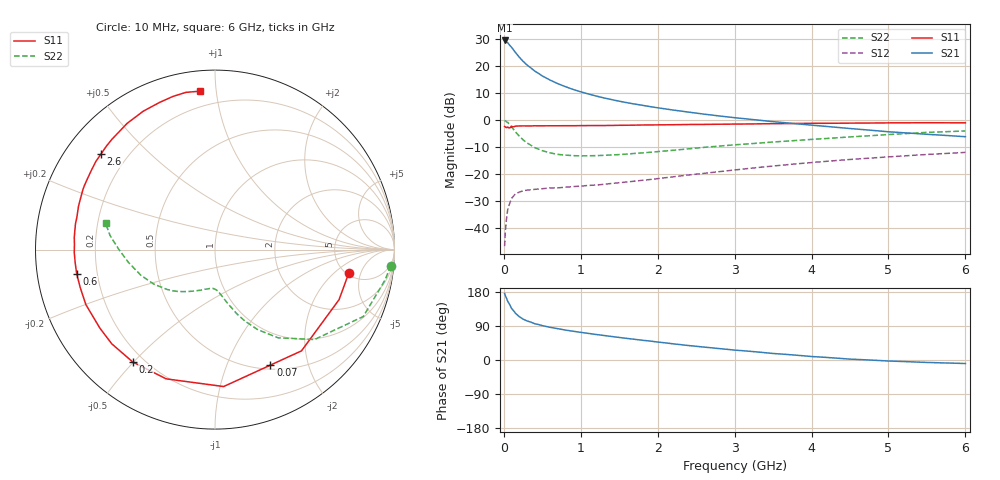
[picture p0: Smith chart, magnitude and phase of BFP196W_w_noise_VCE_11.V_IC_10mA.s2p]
! Infineon Technologies  Discrete & RF Semiconductors
! BFP196W
! VCE =  11. V,  IC =  10 mA
! Common Emitter S-Parameters:  Jan 2017
# GHz  S  MA  R  50
!  f  S11  S21  S12  S22
! GHz  MAG  ANG  MAG  ANG  MAG  ANG  MAG  ANG
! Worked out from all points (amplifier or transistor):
!   77 points, 10 MHz to 6 GHz, reference 50 ohm
!   highest |S21| = 29.5 dB at 10 MHz (marker M1)
!   |S21| within 3 dB of that: start of sweep to 112.9 MHz
!   unconditionally stable (mu >= 1): 1.266 GHz to 3.149 GHz
!   at 130 MHz: K = 0.15, MSG = 26.9 dB, |S12| = -28.0 dB
!   at 2.2 GHz: K = 1.10, MAG = 10.5 dB, |S12| = -21.1 dB
!   at 6 GHz: K = 0.87, MSG = 2.9 dB, |S12| = -12.0 dB
!   lowest NFmin = 0.91 dB at 450 MHz
!   S11 on the Smith chart (normalised r, x): 10 MHz: 5.23, -3.19; 70 MHz: 0.55, -1.44; 200 MHz: 0.16, -0.50; 600 MHz: 0.12, -0.09; 2.6 GHz: 0.11, +0.36; 6 GHz: 0.11, +0.90
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0.01  0.757 -9.9  29.78 175.5  0.0046 78.9  0.9834 -5.2
0.02  0.7453 -22.0  29.2 169.6  0.0088 83.7  0.9633 -10.0
0.05  0.742 -49.5  27.13 155.1  0.0216 65.9  0.9064 -24.3
0.07  0.7138 -64.4  24.88 148.4  0.0268 58.1  0.8334 -30.6
0.1  0.7645 -86.4  22.31 136.1  0.0353 50.9  0.7471 -42.1
0.15  0.7698 -110.7  17.92 123.5  0.0427 40.7  0.6046 -54.4
0.2  0.7759 -126.2  14.63 114.5  0.0461 35.0  0.5044 -62.0
0.25  0.7787 -137.6  12.25 107.9  0.0488 30.6  0.4301 -67.4
0.3  0.7764 -145.7  10.48 103.2  0.0502 28.3  0.3766 -71.3
0.4  0.782 -156.9  8.105 95.9  0.0519 26.3  0.3088 -76.7
0.5  0.7801 -164.3  6.552 90.7  0.0534 25.4  0.27 -80.5
0.6  0.7822 -170.0  5.504 86.3  0.0551 25.6  0.2466 -83.6
0.7  0.7823 -174.4  4.727 82.7  0.0553 26.7  0.2309 -86.1
0.8  0.7843 -178.7  4.151 79.0  0.0569 28.4  0.2236 -88.6
1.1  0.7882 172.1  3.035 70.2  0.0615 33.2  0.2178 -95.4
1.5  0.7978 162.4  2.232 59.5  0.069 39.1  0.2287 -104.8
2.1  0.815 149.3  1.606 45.2  0.0853 46.4  0.267 -119.6
2.6  0.829 139.9  1.286 34.1  0.1027 49.4  0.3114 -131.4
3.1  0.8429 131.4  1.068 24.6  0.123 49.8  0.3549 -142.5
4.1  0.8691 116.1  0.781 8.0  0.1674 46.0  0.446 -163.3
5.1  0.8856 104.4  0.593 -3.4  0.2118 39.2  0.5474 178.0
6  0.8867 95.5  0.491 -9.3  0.251 31.7  0.6271 166.5
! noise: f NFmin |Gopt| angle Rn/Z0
0.45  0.91  0.36  146  0.06
0.9  1.19  0.53  168  0.05
1.9  2.27  0.71  -158  0.1
2.4  2.77  0.76  -149  0.22
